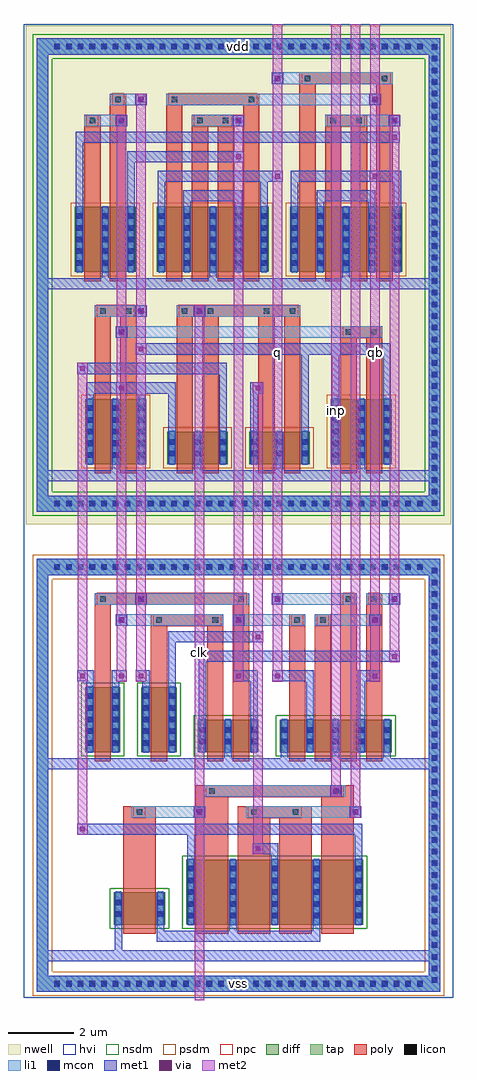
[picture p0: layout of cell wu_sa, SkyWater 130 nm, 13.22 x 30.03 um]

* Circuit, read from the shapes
.subckt wu_sa clk inn inp q qb vdd vss
XM1 n1 n2 n3 vss sky130_fd_pr__nfet_g5v0d10v5 w=2 l=0.5
XM2 n4 clk vss vss sky130_fd_pr__nfet_g5v0d10v5 w=1 l=1
XM3 n5 n1 n2 vss sky130_fd_pr__nfet_g5v0d10v5 w=2 l=0.5
XM4 n4 inp n3 vss sky130_fd_pr__nfet_g5v0d10v5 w=2 l=1 m=2
XM5 vss n1 n6 vss sky130_fd_pr__nfet_g5v0d10v5 w=1 l=0.5
XM6 n7 n2 vss vss sky130_fd_pr__nfet_g5v0d10v5 w=1 l=0.5
XM7 n5 inn n4 vss sky130_fd_pr__nfet_g5v0d10v5 w=2 l=1 m=2
XM8 q n7 vss vss sky130_fd_pr__nfet_g5v0d10v5 w=1 l=0.5
XM9 vss qb q vss sky130_fd_pr__nfet_g5v0d10v5 w=1 l=0.5
XM10 qb q vss vss sky130_fd_pr__nfet_g5v0d10v5 w=1 l=0.5
XM11 vss n6 qb vss sky130_fd_pr__nfet_g5v0d10v5 w=1 l=0.5
XM12 vdd n1 n6 vdd sky130_fd_pr__pfet_g5v0d10v5 w=2 l=0.5
XM13 vdd n2 n1 vdd sky130_fd_pr__pfet_g5v0d10v5 w=2 l=0.5 m=2
XM14 n7 n2 vdd vdd sky130_fd_pr__pfet_g5v0d10v5 w=2 l=0.5
XM15 n8 qb q vdd sky130_fd_pr__pfet_g5v0d10v5 w=2 l=0.5 m=2
XM16 vdd clk n1 vdd sky130_fd_pr__pfet_g5v0d10v5 w=1 l=0.5
XM17 vdd n7 n8 vdd sky130_fd_pr__pfet_g5v0d10v5 w=2 l=0.5 m=2
XM18 n3 clk vdd vdd sky130_fd_pr__pfet_g5v0d10v5 w=1 l=0.5
XM19 vdd clk n5 vdd sky130_fd_pr__pfet_g5v0d10v5 w=1 l=0.5
XM20 n2 clk vdd vdd sky130_fd_pr__pfet_g5v0d10v5 w=1 l=0.5
XM21 n9 q qb vdd sky130_fd_pr__pfet_g5v0d10v5 w=2 l=0.5 m=2
XM22 vdd n6 n9 vdd sky130_fd_pr__pfet_g5v0d10v5 w=2 l=0.5 m=2
XM23 vdd n1 n2 vdd sky130_fd_pr__pfet_g5v0d10v5 w=2 l=0.5 m=2
.ends

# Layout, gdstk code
import gdstk
lib = gdstk.Library(unit=1e-6, precision=1e-09)
def R(c, l, rs):  # rectangles x0, y0, x1, y1
    for r in rs: c.add(gdstk.rectangle(r[:2], r[2:], *l))
def A(c, l, x, y, w, h, nx, ny, dx, dy):  # array of equal rectangles
    R(c, l, [(x+i*dx, y+j*dy, x+i*dx+w, y+j*dy+h) for i in range(nx) for j in range(ny)])
nwell = (64, 20)
diff = (65, 20)
tap = (65, 44)
poly = (66, 20)
licon = (66, 44)
li1 = (67, 20)
mcon = (67, 44)
met1 = (68, 20)
via = (68, 44)
met2 = (69, 20)
hvi = (75, 20)
nsdm = (93, 44)
psdm = (94, 20)
npc = (95, 20)

wu_sa = lib.new_cell('wu_sa')
R(wu_sa, nwell, [(-6.55,14.64,6.55,29.97)])
R(wu_sa, diff, [(-3.84,2.32,-2.26,3.32), (-1.61,2.32,3.84,4.32), (-4.715,7.63,-3.635,9.63), (-2.985,7.63,-1.905,9.63), (-1.255,7.63,0.615,8.63), (1.265,7.63,4.715,8.63), (-4.715,16.49,-2.845,18.49), (-2.195,16.49,-0.325,17.49), (0.325,16.49,2.195,17.49), (2.845,16.49,4.715,18.49), (-5.035,22.4,-3.165,24.4), (-2.515,22.4,0.935,24.4), (1.585,22.4,5.035,24.4)])
R(wu_sa, tap, [(-6.2,0.25,6.2,0.75), (-6.2,0.25,-5.86,13.57), (5.86,0.25,6.2,13.57), (-6.2,13.07,6.2,13.57), (-6.2,15.02,6.2,15.52), (-6.2,15.02,-5.86,29.59), (5.86,15.02,6.2,29.59), (-6.2,29.09,6.2,29.59)])
A(wu_sa, poly, -1.32, 2.035, 1, 2.57, 4, 1, 1.29, 0)
A(wu_sa, poly, 1.555, 7.345, 0.5, 1.57, 4, 1, 0.79, 0)
A(wu_sa, poly, -2.225, 22.115, 0.5, 2.57, 4, 1, 0.79, 0)
A(wu_sa, poly, 1.875, 22.115, 0.5, 2.57, 4, 1, 0.79, 0)
R(wu_sa, poly, [(-3.55,2.035,-2.55,3.605), (-3.55,3.32,-2.55,5.78), (-1.32,4.32,-0.32,6.43), (-0.03,4.32,0.97,5.78), (1.26,4.32,2.26,5.78), (2.55,4.32,3.55,6.43), (-3.55,5.6,-2.55,5.96), (-0.03,5.6,2.26,5.96), (-1.32,6.25,3.55,6.61), (-4.425,7.345,-3.925,9.915), (-2.695,7.345,-2.195,9.915), (-0.965,7.345,-0.465,8.915), (-0.175,7.345,0.325,8.915), (-0.965,8.63,-0.465,11.69), (-0.175,8.63,0.325,12.34), (1.555,8.63,2.055,11.69), (2.345,8.63,2.845,11.69), (3.135,8.63,3.635,12.34), (3.925,8.63,4.425,12.34), (-4.425,9.63,-3.925,12.34), (-2.695,9.63,-2.195,11.69), (-2.695,11.51,-0.465,11.87), (1.555,11.51,2.055,11.87), (2.345,11.51,2.845,11.87), (-4.425,12.16,0.325,12.52), (3.135,12.16,3.635,12.52), (3.925,12.16,4.425,12.52), (-4.425,16.205,-3.925,18.775), (-3.635,16.205,-3.135,18.775), (-1.905,16.205,-1.405,17.775), (-1.115,16.205,-0.615,17.775), (0.615,16.205,1.115,17.775), (1.405,16.205,1.905,17.775), (3.135,16.205,3.635,18.775), (3.925,16.205,4.425,18.775), (-1.905,17.49,-1.405,21.2), (-1.115,17.49,-0.615,21.2), (0.615,17.49,1.115,21.2), (1.405,17.49,1.905,21.2), (-4.425,18.49,-3.925,21.2), (-3.635,18.49,-3.135,21.2), (3.135,18.49,3.635,20.55), (3.925,18.49,4.425,20.55), (3.135,20.37,4.425,20.73), (-4.425,21.02,-3.135,21.38), (-1.905,21.02,1.905,21.38), (-4.745,22.115,-4.245,24.685), (-3.955,22.115,-3.455,24.685), (-4.745,24.4,-4.245,27.06), (-3.955,24.4,-3.455,27.71), (-2.225,24.4,-1.725,27.71), (-1.435,24.4,-0.935,27.06), (-0.645,24.4,-0.145,27.06), (0.145,24.4,0.645,27.71), (1.875,24.4,2.375,28.36), (2.665,24.4,3.165,27.06), (3.455,24.4,3.955,27.06), (4.245,24.4,4.745,28.36), (-4.745,26.88,-4.245,27.24), (-1.435,26.88,-0.145,27.24), (2.665,26.88,3.955,27.24), (-3.955,27.53,-3.455,27.89), (-2.225,27.53,0.645,27.89), (1.875,28.18,4.745,28.54)])
A(wu_sa, licon, -5.665, 0.415, 0.17, 0.17, 32, 2, 0.36, 12.82)
A(wu_sa, licon, 5.945, 0.525, 0.17, 0.17, 1, 36, 0, 0.36)
A(wu_sa, licon, -1.55, 2.515, 0.17, 0.17, 5, 5, 1.29, 0.36)
A(wu_sa, licon, -4.655, 7.825, 0.17, 0.17, 1, 5, 0, 0.36)
A(wu_sa, licon, -3.865, 7.825, 0.17, 0.17, 1, 5, 0, 0.36)
A(wu_sa, licon, -2.925, 7.825, 0.17, 0.17, 1, 5, 0, 0.36)
A(wu_sa, licon, -2.135, 7.825, 0.17, 0.17, 1, 5, 0, 0.36)
A(wu_sa, licon, -1.195, 7.865, 0.17, 0.17, 3, 2, 0.79, 0.36)
A(wu_sa, licon, 1.325, 7.865, 0.17, 0.17, 5, 2, 0.79, 0.36)
A(wu_sa, licon, -5.665, 15.185, 0.17, 0.17, 32, 2, 0.36, 14.07)
A(wu_sa, licon, 5.945, 15.2, 0.17, 0.17, 1, 40, 0, 0.36)
A(wu_sa, licon, -4.655, 16.685, 0.17, 0.17, 3, 5, 0.79, 0.36)
A(wu_sa, licon, 2.905, 16.685, 0.17, 0.17, 3, 5, 0.79, 0.36)
A(wu_sa, licon, -2.135, 16.725, 0.17, 0.17, 3, 2, 0.79, 0.36)
A(wu_sa, licon, 0.385, 16.725, 0.17, 0.17, 3, 2, 0.79, 0.36)
A(wu_sa, licon, -4.975, 22.595, 0.17, 0.17, 3, 5, 0.79, 0.36)
A(wu_sa, licon, -2.455, 22.595, 0.17, 0.17, 5, 5, 0.79, 0.36)
A(wu_sa, licon, 1.645, 22.595, 0.17, 0.17, 5, 5, 0.79, 0.36)
R(wu_sa, licon, [(-3.78,2.555,-3.61,2.725), (-2.49,2.555,-2.32,2.725), (-3.78,2.915,-3.61,3.085), (-2.49,2.915,-2.32,3.085), (-3.135,5.695,-2.965,5.865), (0.385,5.695,0.555,5.865), (1.675,5.695,1.845,5.865), (-0.905,6.345,-0.735,6.515), (2.965,6.345,3.135,6.515), (-2.53,11.605,-2.36,11.775), (-0.8,11.605,-0.63,11.775), (1.72,11.605,1.89,11.775), (2.51,11.605,2.68,11.775), (-4.26,12.255,-4.09,12.425), (-0.01,12.255,0.16,12.425), (3.3,12.255,3.47,12.425), (4.09,12.255,4.26,12.425), (3.3,20.465,3.47,20.635), (4.09,20.465,4.26,20.635), (-4.26,21.115,-4.09,21.285), (-3.47,21.115,-3.3,21.285), (-1.74,21.115,-1.57,21.285), (-0.95,21.115,-0.78,21.285), (0.78,21.115,0.95,21.285), (1.57,21.115,1.74,21.285), (-4.58,26.975,-4.41,27.145), (-1.27,26.975,-1.1,27.145), (-0.48,26.975,-0.31,27.145), (2.83,26.975,3,27.145), (3.62,26.975,3.79,27.145), (-3.79,27.625,-3.62,27.795), (-2.06,27.625,-1.89,27.795), (0.31,27.625,0.48,27.795), (2.04,28.275,2.21,28.445), (4.41,28.275,4.58,28.445)])
A(wu_sa, li1, -1.55, 2.3, 0.17, 2.04, 5, 1, 1.29, 0)
A(wu_sa, li1, -1.195, 7.61, 0.17, 1.04, 3, 1, 0.79, 0)
A(wu_sa, li1, 1.325, 7.61, 0.17, 1.04, 5, 1, 0.79, 0)
A(wu_sa, li1, -4.655, 16.47, 0.17, 2.04, 3, 1, 0.79, 0)
A(wu_sa, li1, -2.135, 16.47, 0.17, 1.04, 3, 1, 0.79, 0)
A(wu_sa, li1, 0.385, 16.47, 0.17, 1.04, 3, 1, 0.79, 0)
A(wu_sa, li1, 2.905, 16.47, 0.17, 2.04, 3, 1, 0.79, 0)
A(wu_sa, li1, -4.975, 22.38, 0.17, 2.04, 3, 1, 0.79, 0)
A(wu_sa, li1, -2.455, 22.38, 0.17, 2.04, 5, 1, 0.79, 0)
A(wu_sa, li1, 1.645, 22.38, 0.17, 2.04, 5, 1, 0.79, 0)
R(wu_sa, li1, [(-6.2,0.25,6.2,0.75), (-6.2,0.25,-5.86,13.57), (5.86,0.25,6.2,13.57), (-3.78,2.3,-3.61,3.34), (-2.49,2.3,-2.32,3.34), (-3.3,5.6,-1.03,5.96), (0.22,5.6,3.77,5.96), (-1.07,6.25,3.3,6.61), (-4.655,7.61,-4.485,9.65), (-3.865,7.61,-3.695,9.65), (-2.925,7.61,-2.755,9.65), (-2.135,7.61,-1.965,9.65), (-3.77,11.51,-0.465,11.87), (-0.17,11.51,2.055,11.87), (2.345,11.51,4.37,11.87), (-4.425,12.16,0.325,12.52), (1.03,12.16,3.635,12.52), (3.925,12.16,4.97,12.52), (-6.2,13.07,6.2,13.57), (-6.2,15.02,6.2,15.52), (-6.2,15.02,-5.86,29.59), (5.86,15.02,6.2,29.59), (-3.77,20.37,4.425,20.73), (-4.425,21.02,-2.83,21.38), (-1.905,21.02,1.905,21.38), (-4.745,26.88,-3.43,27.24), (-1.435,26.88,0.17,27.24), (2.665,26.88,4.97,27.24), (-3.955,27.53,-2.83,27.89), (-2.225,27.53,4.37,27.89), (1.03,28.18,4.745,28.54), (-6.2,29.09,6.2,29.59)])
A(wu_sa, mcon, -5.665, 0.415, 0.17, 0.17, 32, 2, 0.36, 12.82)
A(wu_sa, mcon, 5.945, 0.525, 0.17, 0.17, 1, 36, 0, 0.36)
A(wu_sa, mcon, -1.55, 2.515, 0.17, 0.17, 5, 5, 1.29, 0.36)
A(wu_sa, mcon, -4.655, 7.825, 0.17, 0.17, 1, 5, 0, 0.36)
A(wu_sa, mcon, -3.865, 7.825, 0.17, 0.17, 1, 5, 0, 0.36)
A(wu_sa, mcon, -2.925, 7.825, 0.17, 0.17, 1, 5, 0, 0.36)
A(wu_sa, mcon, -2.135, 7.825, 0.17, 0.17, 1, 5, 0, 0.36)
A(wu_sa, mcon, -1.195, 7.865, 0.17, 0.17, 3, 2, 0.79, 0.36)
A(wu_sa, mcon, 1.325, 7.865, 0.17, 0.17, 5, 2, 0.79, 0.36)
A(wu_sa, mcon, -5.665, 15.185, 0.17, 0.17, 32, 2, 0.36, 14.07)
A(wu_sa, mcon, 5.945, 15.2, 0.17, 0.17, 1, 40, 0, 0.36)
A(wu_sa, mcon, -4.655, 16.685, 0.17, 0.17, 3, 5, 0.79, 0.36)
A(wu_sa, mcon, 2.905, 16.685, 0.17, 0.17, 3, 5, 0.79, 0.36)
A(wu_sa, mcon, -2.135, 16.725, 0.17, 0.17, 3, 2, 0.79, 0.36)
A(wu_sa, mcon, 0.385, 16.725, 0.17, 0.17, 3, 2, 0.79, 0.36)
A(wu_sa, mcon, -4.975, 22.595, 0.17, 0.17, 3, 5, 0.79, 0.36)
A(wu_sa, mcon, -2.455, 22.595, 0.17, 0.17, 5, 5, 0.79, 0.36)
A(wu_sa, mcon, 1.645, 22.595, 0.17, 0.17, 5, 5, 0.79, 0.36)
R(wu_sa, mcon, [(-3.78,2.555,-3.61,2.725), (-2.49,2.555,-2.32,2.725), (-3.78,2.915,-3.61,3.085), (-2.49,2.915,-2.32,3.085), (-1.285,5.695,-1.115,5.865), (3.515,5.695,3.685,5.865), (2.915,6.345,3.085,6.515), (-3.685,11.605,-3.515,11.775), (-0.085,11.605,0.085,11.775), (4.115,11.605,4.285,11.775), (-3.085,12.255,-2.915,12.425), (1.115,12.255,1.285,12.425), (4.715,12.255,4.885,12.425), (-3.685,20.465,-3.515,20.635), (-3.085,21.115,-2.915,21.285), (-1.285,21.115,-1.115,21.285), (-3.685,26.975,-3.515,27.145), (-0.085,26.975,0.085,27.145), (4.715,26.975,4.885,27.145), (-3.085,27.625,-2.915,27.795), (4.115,27.625,4.285,27.795), (1.115,28.275,1.285,28.445)])
A(wu_sa, met1, -1.58, 2.32, 0.23, 2, 5, 1, 1.29, 0)
A(wu_sa, met1, 1.295, 7.1, 0.23, 0.53, 3, 1, 1.58, 0)
A(wu_sa, met1, -1.225, 7.63, 0.23, 1, 3, 1, 0.79, 0)
A(wu_sa, met1, 1.295, 7.63, 0.23, 1, 5, 1, 0.79, 0)
A(wu_sa, met1, -3.895, 15.96, 0.23, 0.53, 4, 1, 2.52, 0)
A(wu_sa, met1, -4.685, 16.49, 0.23, 2, 3, 1, 0.79, 0)
A(wu_sa, met1, -2.165, 16.49, 0.23, 1, 3, 1, 0.79, 0)
A(wu_sa, met1, 0.355, 16.49, 0.23, 1, 3, 1, 0.79, 0)
A(wu_sa, met1, 2.875, 16.49, 0.23, 2, 3, 1, 0.79, 0)
A(wu_sa, met1, -5.005, 22.4, 0.23, 2, 3, 1, 0.79, 0)
A(wu_sa, met1, -2.485, 22.4, 0.23, 2, 5, 1, 0.79, 0)
A(wu_sa, met1, 1.615, 22.4, 0.23, 2, 5, 1, 0.79, 0)
R(wu_sa, met1, [(-6.2,0.25,6.2,0.75), (-6.2,0.25,-5.86,13.57), (5.86,0.25,6.2,13.57), (-6.03,1.19,6.03,1.53), (-3.81,1.19,-3.58,2.32), (-2.52,1.79,2.52,2.13), (-2.52,1.79,-2.29,2.32), (-0.29,1.79,-0.06,2.32), (2.29,1.79,2.52,2.32), (-3.81,2.32,-3.58,3.32), (-2.52,2.32,-2.29,3.32), (-1.58,4.32,-1.35,5.43), (1,4.32,1.23,4.83), (3.58,4.32,3.81,5.43), (0.435,4.49,1.23,4.83), (0.435,4.495,0.765,4.825), (-4.965,5.09,3.81,5.43), (-4.965,5.095,-4.635,5.425), (-1.37,5.61,-1.03,5.95), (3.43,5.61,3.77,5.95), (2.83,6.26,3.17,6.6), (-6.03,7.1,6.03,7.44), (-0.435,7.1,-0.205,7.63), (-4.685,7.63,-4.455,9.63), (-3.895,7.63,-3.665,9.63), (-2.955,7.63,-2.725,9.63), (-2.165,7.63,-1.935,9.63), (-1.225,8.63,-0.995,10.74), (0.355,8.63,0.585,10.14), (2.085,8.63,2.315,10.14), (3.665,8.63,3.895,10.14), (-4.685,9.63,-4.455,10.14), (-3.895,9.63,-3.665,10.14), (-2.955,9.63,-2.725,10.14), (-2.165,9.63,-1.935,11.34), (-4.965,9.8,-4.455,10.14), (-3.895,9.8,-3.435,10.14), (-3.165,9.8,-2.725,10.14), (-0.165,9.8,0.585,10.14), (1.035,9.8,2.315,10.14), (3.665,9.8,4.365,10.14), (-4.965,9.805,-4.635,10.135), (-3.765,9.805,-3.435,10.135), (-3.165,9.805,-2.835,10.135), (-0.165,9.805,0.165,10.135), (1.035,9.805,1.365,10.135), (4.035,9.805,4.365,10.135), (-1.225,10.4,4.965,10.74), (4.635,10.405,4.965,10.735), (-2.165,11,0.765,11.34), (0.435,11.005,0.765,11.335), (-3.77,11.52,-3.43,11.86), (-0.17,11.52,0.17,11.86), (4.03,11.52,4.37,11.86), (-3.17,12.17,-2.83,12.51), (1.03,12.17,1.37,12.51), (4.63,12.17,4.97,12.51), (-6.2,13.07,6.2,13.57), (-6.2,15.02,6.2,15.52), (-6.2,15.02,-5.86,29.59), (5.86,15.02,6.2,29.59), (-6.03,15.96,6.03,16.3), (-2.165,17.49,-1.935,19), (-0.585,17.49,-0.355,19.6), (0.355,17.49,0.585,19), (1.935,17.49,2.165,20.2), (-4.685,18.49,-4.455,19), (-3.105,18.49,-2.875,19), (2.875,18.49,3.105,20.2), (4.455,18.49,4.685,20.2), (-4.685,18.66,-1.935,19), (0.355,18.66,0.765,19), (-3.765,18.665,-3.435,18.995), (0.435,18.665,0.765,18.995), (-4.965,19.26,-0.355,19.6), (-4.965,19.265,-4.635,19.595), (-3.165,19.86,4.685,20.2), (-3.165,19.865,-2.835,20.195), (-3.77,20.38,-3.43,20.72), (-3.17,21.03,-2.83,21.37), (-1.37,21.03,-1.03,21.37), (-6.03,21.87,6.03,22.21), (-4.215,21.87,-3.985,22.4), (-0.905,21.87,-0.675,22.4), (3.195,21.87,3.425,22.4), (-5.005,24.4,-4.775,26.71), (-3.425,24.4,-3.195,26.11), (-2.485,24.4,-2.255,25.51), (-1.695,24.4,-1.465,24.91), (-0.115,24.4,0.115,24.91), (0.675,24.4,0.905,25.51), (1.615,24.4,1.845,25.51), (2.405,24.4,2.635,24.91), (3.985,24.4,4.215,24.91), (4.775,24.4,5.005,25.51), (-1.695,24.57,0.115,24.91), (2.405,24.57,4.215,24.91), (-2.485,25.17,1.365,25.51), (1.615,25.17,5.005,25.51), (1.035,25.175,1.365,25.505), (4.035,25.175,4.365,25.505), (-3.425,25.77,0.165,26.11), (-0.165,25.775,0.165,26.105), (-5.005,26.37,4.965,26.71), (4.635,26.375,4.965,26.705), (-3.77,26.89,-3.43,27.23), (-0.17,26.89,0.17,27.23), (4.63,26.89,4.97,27.23), (-3.17,27.54,-2.83,27.88), (4.03,27.54,4.37,27.88), (1.03,28.19,1.37,28.53), (-6.2,29.09,6.2,29.59)])
R(wu_sa, via, [(0.525,4.585,0.675,4.735), (-4.875,5.185,-4.725,5.335), (-1.275,5.705,-1.125,5.855), (3.525,5.705,3.675,5.855), (2.925,6.355,3.075,6.505), (-4.875,9.895,-4.725,10.045), (-3.675,9.895,-3.525,10.045), (-3.075,9.895,-2.925,10.045), (-0.075,9.895,0.075,10.045), (1.125,9.895,1.275,10.045), (4.125,9.895,4.275,10.045), (4.725,10.495,4.875,10.645), (0.525,11.095,0.675,11.245), (-3.675,11.615,-3.525,11.765), (-0.075,11.615,0.075,11.765), (4.125,11.615,4.275,11.765), (-3.075,12.265,-2.925,12.415), (1.125,12.265,1.275,12.415), (4.725,12.265,4.875,12.415), (-3.675,18.755,-3.525,18.905), (0.525,18.755,0.675,18.905), (-4.875,19.355,-4.725,19.505), (-3.075,19.955,-2.925,20.105), (-3.675,20.475,-3.525,20.625), (-3.075,21.125,-2.925,21.275), (-1.275,21.125,-1.125,21.275), (1.125,25.265,1.275,25.415), (4.125,25.265,4.275,25.415), (-0.075,25.865,0.075,26.015), (4.725,26.465,4.875,26.615), (-3.675,26.985,-3.525,27.135), (-0.075,26.985,0.075,27.135), (4.725,26.985,4.875,27.135), (-3.075,27.635,-2.925,27.785), (4.125,27.635,4.275,27.785), (1.125,28.285,1.275,28.435)])
R(wu_sa, met2, [(-1.34,0,-1.06,21.38), (0.46,4.48,0.74,19.01), (0.435,4.495,0.765,4.825), (-4.94,5.08,-4.66,19.61), (-4.965,5.095,-4.635,5.425), (3.46,5.6,3.74,30.03), (-1.365,5.615,-1.035,5.945), (3.435,5.615,3.765,5.945), (2.86,6.25,3.14,30.03), (2.835,6.265,3.165,6.595), (-3.74,9.79,-3.46,27.24), (-3.14,9.79,-2.86,27.89), (-0.14,9.79,0.14,27.24), (1.06,9.79,1.34,30.03), (4.06,9.79,4.34,30.03), (-4.965,9.805,-4.635,10.135), (-3.765,9.805,-3.435,10.135), (-3.165,9.805,-2.835,10.135), (-0.165,9.805,0.165,10.135), (1.035,9.805,1.365,10.135), (4.035,9.805,4.365,10.135), (4.66,10.39,4.94,27.24), (4.635,10.405,4.965,10.735), (0.435,11.005,0.765,11.335), (-3.765,11.525,-3.435,11.855), (-0.165,11.525,0.165,11.855), (4.035,11.525,4.365,11.855), (-3.165,12.175,-2.835,12.505), (1.035,12.175,1.365,12.505), (4.635,12.175,4.965,12.505), (-3.765,18.665,-3.435,18.995), (0.435,18.665,0.765,18.995), (-4.965,19.265,-4.635,19.595), (-3.165,19.865,-2.835,20.195), (-3.765,20.385,-3.435,20.715), (-3.165,21.035,-2.835,21.365), (-1.365,21.035,-1.035,21.365), (1.035,25.175,1.365,25.505), (4.035,25.175,4.365,25.505), (-0.165,25.775,0.165,26.105), (4.635,26.375,4.965,26.705), (-3.765,26.895,-3.435,27.225), (-0.165,26.895,0.165,27.225), (4.635,26.895,4.965,27.225), (-3.165,27.545,-2.835,27.875), (4.035,27.545,4.365,27.875), (1.035,28.195,1.365,28.525)])
R(wu_sa, hvi, [(-6.61,0.065,6.61,30.03)])
R(wu_sa, nsdm, [(-3.965,2.195,-2.135,3.445), (-1.735,2.195,3.965,4.445), (-4.84,7.505,-3.51,9.755), (-3.11,7.505,-1.78,9.755), (-1.38,7.505,0.74,8.755), (1.14,7.505,4.84,8.755), (-6.325,14.895,6.325,15.645), (-6.325,14.895,-5.735,29.715), (5.735,14.895,6.325,29.715), (-6.325,28.965,6.325,29.715)])
R(wu_sa, psdm, [(-6.325,0.125,6.325,0.875), (-6.325,0.125,-5.735,13.695), (5.735,0.125,6.325,13.695), (-6.325,12.945,6.325,13.695), (-4.84,16.365,-2.72,18.615), (-2.32,16.365,-0.2,17.615), (0.2,16.365,2.32,17.615), (2.72,16.365,4.84,18.615), (-5.16,22.275,-3.04,24.525), (-2.64,22.275,1.06,24.525), (1.46,22.275,5.16,24.525)])
R(wu_sa, npc, [(-3.235,5.595,-2.865,5.965), (0.285,5.595,1.945,5.965), (-1.005,6.245,3.235,6.615), (-2.63,11.505,-0.53,11.875), (1.62,11.505,1.99,11.875), (2.41,11.505,2.78,11.875), (-4.36,12.155,0.26,12.525), (3.2,12.155,3.57,12.525), (3.99,12.155,4.36,12.525), (3.2,20.365,4.36,20.735), (-4.36,21.015,-3.2,21.385), (-1.84,21.015,1.84,21.385), (-4.68,26.875,-4.31,27.245), (-1.37,26.875,-0.21,27.245), (2.73,26.875,3.89,27.245), (-3.89,27.525,-3.52,27.895), (-2.16,27.525,0.58,27.895), (1.94,28.175,4.68,28.545)])
wu_sa.add(gdstk.Label('vdd', (0,29.34), layer=68, texttype=5))
wu_sa.add(gdstk.Label('vss', (0,0.5), layer=68, texttype=5))
wu_sa.add(gdstk.Label('inp', (3,18.14), layer=69, texttype=5))
wu_sa.add(gdstk.Label('inn', (3.6,17.815), layer=69, texttype=5))
wu_sa.add(gdstk.Label('clk', (-1.2,10.69), layer=69, texttype=5))
wu_sa.add(gdstk.Label('q', (1.2,19.91), layer=69, texttype=5))
wu_sa.add(gdstk.Label('qb', (4.2,19.91), layer=69, texttype=5))

lib.write_gds('wu_sa.gds')
